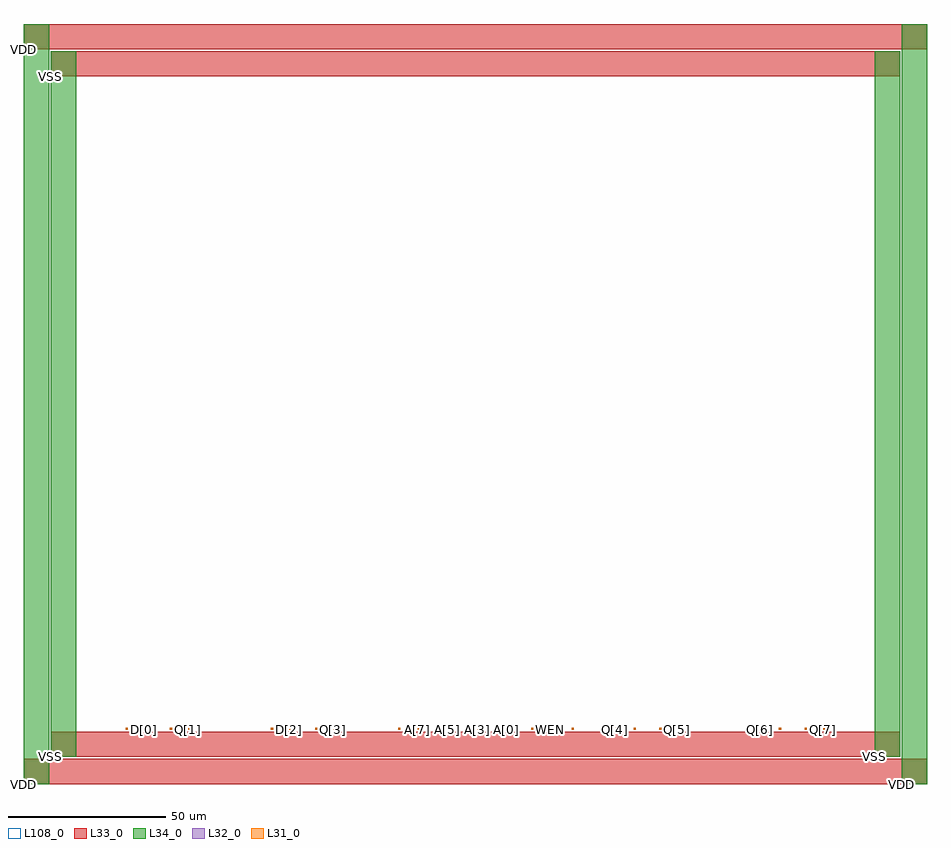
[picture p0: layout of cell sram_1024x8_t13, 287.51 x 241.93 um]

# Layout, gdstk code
import gdstk
lib = gdstk.Library(unit=1e-6, precision=1e-09)
def R(c, l, rs):  # rectangles x0, y0, x1, y1
    for r in rs: c.add(gdstk.rectangle(r[:2], r[2:], *l))
L31_0 = (31, 0)
L32_0 = (32, 0)
L33_0 = (33, 0)
L34_0 = (34, 0)
L108_0 = (108, 0)

sram_1024x8_t13 = lib.new_cell('sram_1024x8_t13')
R(sram_1024x8_t13, L31_0, [(32.47,17.2,33.13,17.86), (38.35,17.2,39.01,17.86), (46.49,17.2,47.15,17.86), (52.37,17.2,53.03,17.86), (78.65,17.2,79.31,17.86), (84.53,17.2,85.19,17.86), (92.67,17.2,93.33,17.86), (98.55,17.2,99.21,17.86), (119.095,17.2,119.755,17.86), (122.185,17.2,122.845,17.86), (125.385,17.2,126.045,17.86), (131.675,17.2,132.335,17.86), (134.765,17.2,135.425,17.86), (137.965,17.2,138.625,17.86), (144.255,17.2,144.915,17.86), (147.345,17.2,148.005,17.86), (150.545,17.2,151.205,17.86), (153.635,17.2,154.295,17.86), (161.51,17.2,162.17,17.86), (167.61,17.2,168.27,17.86), (174.36,17.2,175.02,17.86), (188.3,17.2,188.96,17.86), (194.18,17.2,194.84,17.86), (202.32,17.2,202.98,17.86), (208.2,17.2,208.86,17.86), (234.48,17.2,235.14,17.86), (240.36,17.2,241.02,17.86), (248.5,17.2,249.16,17.86), (254.38,17.2,255.04,17.86)])
R(sram_1024x8_t13, L32_0, [(32.47,17.2,33.13,17.86), (38.35,17.2,39.01,17.86), (46.49,17.2,47.15,17.86), (52.37,17.2,53.03,17.86), (78.65,17.2,79.31,17.86), (84.53,17.2,85.19,17.86), (92.67,17.2,93.33,17.86), (98.55,17.2,99.21,17.86), (119.095,17.2,119.755,17.86), (122.185,17.2,122.845,17.86), (125.385,17.2,126.045,17.86), (131.675,17.2,132.335,17.86), (134.765,17.2,135.425,17.86), (137.965,17.2,138.625,17.86), (144.255,17.2,144.915,17.86), (147.345,17.2,148.005,17.86), (150.545,17.2,151.205,17.86), (153.635,17.2,154.295,17.86), (161.51,17.2,162.17,17.86), (167.61,17.2,168.27,17.86), (174.36,17.2,175.02,17.86), (188.3,17.2,188.96,17.86), (194.18,17.2,194.84,17.86), (202.32,17.2,202.98,17.86), (208.2,17.2,208.86,17.86), (234.48,17.2,235.14,17.86), (240.36,17.2,241.02,17.86), (248.5,17.2,249.16,17.86), (254.38,17.2,255.04,17.86)])
R(sram_1024x8_t13, L33_0, [(0,0,287.51,8), (8.6,8.6,278.91,16.6), (32.47,17.2,33.13,17.86), (38.35,17.2,39.01,17.86), (46.49,17.2,47.15,17.86), (52.37,17.2,53.03,17.86), (78.65,17.2,79.31,17.86), (84.53,17.2,85.19,17.86), (92.67,17.2,93.33,17.86), (98.55,17.2,99.21,17.86), (119.095,17.2,119.755,17.86), (122.185,17.2,122.845,17.86), (125.385,17.2,126.045,17.86), (131.675,17.2,132.335,17.86), (134.765,17.2,135.425,17.86), (137.965,17.2,138.625,17.86), (144.255,17.2,144.915,17.86), (147.345,17.2,148.005,17.86), (150.545,17.2,151.205,17.86), (153.635,17.2,154.295,17.86), (161.51,17.2,162.17,17.86), (167.61,17.2,168.27,17.86), (174.36,17.2,175.02,17.86), (188.3,17.2,188.96,17.86), (194.18,17.2,194.84,17.86), (202.32,17.2,202.98,17.86), (208.2,17.2,208.86,17.86), (234.48,17.2,235.14,17.86), (240.36,17.2,241.02,17.86), (248.5,17.2,249.16,17.86), (254.38,17.2,255.04,17.86), (8.6,225.33,278.91,233.33), (0,233.93,287.51,241.93)])
R(sram_1024x8_t13, L34_0, [(0,0,8,241.93), (279.51,0,287.51,241.93), (8.6,8.6,16.6,233.33), (270.91,8.6,278.91,233.33), (32.47,17.2,33.13,17.86), (38.35,17.2,39.01,17.86), (46.49,17.2,47.15,17.86), (52.37,17.2,53.03,17.86), (78.65,17.2,79.31,17.86), (84.53,17.2,85.19,17.86), (92.67,17.2,93.33,17.86), (98.55,17.2,99.21,17.86), (119.095,17.2,119.755,17.86), (122.185,17.2,122.845,17.86), (125.385,17.2,126.045,17.86), (131.675,17.2,132.335,17.86), (134.765,17.2,135.425,17.86), (137.965,17.2,138.625,17.86), (144.255,17.2,144.915,17.86), (147.345,17.2,148.005,17.86), (150.545,17.2,151.205,17.86), (153.635,17.2,154.295,17.86), (161.51,17.2,162.17,17.86), (167.61,17.2,168.27,17.86), (174.36,17.2,175.02,17.86), (188.3,17.2,188.96,17.86), (194.18,17.2,194.84,17.86), (202.32,17.2,202.98,17.86), (208.2,17.2,208.86,17.86), (234.48,17.2,235.14,17.86), (240.36,17.2,241.02,17.86), (248.5,17.2,249.16,17.86), (254.38,17.2,255.04,17.86)])
R(sram_1024x8_t13, L108_0, [(0,0,287.51,241.93)])
sram_1024x8_t13.add(gdstk.Label('Q[3]', (98.55,17.2), layer=133, texttype=0))
sram_1024x8_t13.add(gdstk.Label('Q[3]', (98.55,17.2), layer=132, texttype=0))
sram_1024x8_t13.add(gdstk.Label('Q[3]', (98.55,17.2), layer=131, texttype=0))
sram_1024x8_t13.add(gdstk.Label('Q[4]', (188.3,17.2), layer=134, texttype=0))
sram_1024x8_t13.add(gdstk.Label('Q[4]', (188.3,17.2), layer=133, texttype=0))
sram_1024x8_t13.add(gdstk.Label('Q[4]', (188.3,17.2), layer=132, texttype=0))
sram_1024x8_t13.add(gdstk.Label('Q[4]', (188.3,17.2), layer=131, texttype=0))
sram_1024x8_t13.add(gdstk.Label('Q[5]', (208.2,17.2), layer=134, texttype=0))
sram_1024x8_t13.add(gdstk.Label('Q[5]', (208.2,17.2), layer=133, texttype=0))
sram_1024x8_t13.add(gdstk.Label('Q[5]', (208.2,17.2), layer=132, texttype=0))
sram_1024x8_t13.add(gdstk.Label('Q[5]', (208.2,17.2), layer=131, texttype=0))
sram_1024x8_t13.add(gdstk.Label('Q[6]', (234.48,17.2), layer=134, texttype=0))
sram_1024x8_t13.add(gdstk.Label('Q[6]', (234.48,17.2), layer=133, texttype=0))
sram_1024x8_t13.add(gdstk.Label('Q[6]', (234.48,17.2), layer=132, texttype=0))
sram_1024x8_t13.add(gdstk.Label('Q[6]', (234.48,17.2), layer=131, texttype=0))
sram_1024x8_t13.add(gdstk.Label('Q[7]', (254.38,17.2), layer=134, texttype=0))
sram_1024x8_t13.add(gdstk.Label('Q[7]', (254.38,17.2), layer=133, texttype=0))
sram_1024x8_t13.add(gdstk.Label('Q[7]', (254.38,17.2), layer=132, texttype=0))
sram_1024x8_t13.add(gdstk.Label('Q[7]', (254.38,17.2), layer=131, texttype=0))
sram_1024x8_t13.add(gdstk.Label('WEN', (167.61,17.2), layer=134, texttype=0))
sram_1024x8_t13.add(gdstk.Label('WEN', (167.61,17.2), layer=133, texttype=0))
sram_1024x8_t13.add(gdstk.Label('WEN', (167.61,17.2), layer=132, texttype=0))
sram_1024x8_t13.add(gdstk.Label('WEN', (167.61,17.2), layer=131, texttype=0))
sram_1024x8_t13.add(gdstk.Label('VDD', (0,0), layer=134, texttype=0))
sram_1024x8_t13.add(gdstk.Label('VDD', (279.51,0), layer=134, texttype=0))
sram_1024x8_t13.add(gdstk.Label('VDD', (0,0), layer=133, texttype=0))
sram_1024x8_t13.add(gdstk.Label('VDD', (0,233.93), layer=133, texttype=0))
sram_1024x8_t13.add(gdstk.Label('VSS', (8.6,8.6), layer=134, texttype=0))
sram_1024x8_t13.add(gdstk.Label('VSS', (270.91,8.6), layer=134, texttype=0))
sram_1024x8_t13.add(gdstk.Label('VSS', (8.6,8.6), layer=133, texttype=0))
sram_1024x8_t13.add(gdstk.Label('VSS', (8.6,225.33), layer=133, texttype=0))
sram_1024x8_t13.add(gdstk.Label('A[0]', (153.635,17.2), layer=134, texttype=0))
sram_1024x8_t13.add(gdstk.Label('A[0]', (153.635,17.2), layer=133, texttype=0))
sram_1024x8_t13.add(gdstk.Label('A[0]', (153.635,17.2), layer=132, texttype=0))
sram_1024x8_t13.add(gdstk.Label('A[0]', (153.635,17.2), layer=131, texttype=0))
sram_1024x8_t13.add(gdstk.Label('A[1]', (150.545,17.2), layer=134, texttype=0))
sram_1024x8_t13.add(gdstk.Label('A[1]', (150.545,17.2), layer=133, texttype=0))
sram_1024x8_t13.add(gdstk.Label('A[1]', (150.545,17.2), layer=132, texttype=0))
sram_1024x8_t13.add(gdstk.Label('A[1]', (150.545,17.2), layer=131, texttype=0))
sram_1024x8_t13.add(gdstk.Label('A[2]', (147.345,17.2), layer=134, texttype=0))
sram_1024x8_t13.add(gdstk.Label('A[2]', (147.345,17.2), layer=133, texttype=0))
sram_1024x8_t13.add(gdstk.Label('A[2]', (147.345,17.2), layer=132, texttype=0))
sram_1024x8_t13.add(gdstk.Label('A[2]', (147.345,17.2), layer=131, texttype=0))
sram_1024x8_t13.add(gdstk.Label('A[3]', (144.255,17.2), layer=134, texttype=0))
sram_1024x8_t13.add(gdstk.Label('A[3]', (144.255,17.2), layer=133, texttype=0))
sram_1024x8_t13.add(gdstk.Label('A[3]', (144.255,17.2), layer=132, texttype=0))
sram_1024x8_t13.add(gdstk.Label('A[3]', (144.255,17.2), layer=131, texttype=0))
sram_1024x8_t13.add(gdstk.Label('A[4]', (137.965,17.2), layer=134, texttype=0))
sram_1024x8_t13.add(gdstk.Label('A[4]', (137.965,17.2), layer=133, texttype=0))
sram_1024x8_t13.add(gdstk.Label('A[4]', (137.965,17.2), layer=132, texttype=0))
sram_1024x8_t13.add(gdstk.Label('A[4]', (137.965,17.2), layer=131, texttype=0))
sram_1024x8_t13.add(gdstk.Label('A[5]', (134.765,17.2), layer=134, texttype=0))
sram_1024x8_t13.add(gdstk.Label('A[5]', (134.765,17.2), layer=133, texttype=0))
sram_1024x8_t13.add(gdstk.Label('A[5]', (134.765,17.2), layer=132, texttype=0))
sram_1024x8_t13.add(gdstk.Label('A[5]', (134.765,17.2), layer=131, texttype=0))
sram_1024x8_t13.add(gdstk.Label('A[6]', (131.675,17.2), layer=134, texttype=0))
sram_1024x8_t13.add(gdstk.Label('A[6]', (131.675,17.2), layer=133, texttype=0))
sram_1024x8_t13.add(gdstk.Label('A[6]', (131.675,17.2), layer=132, texttype=0))
sram_1024x8_t13.add(gdstk.Label('A[6]', (131.675,17.2), layer=131, texttype=0))
sram_1024x8_t13.add(gdstk.Label('A[7]', (125.385,17.2), layer=134, texttype=0))
sram_1024x8_t13.add(gdstk.Label('A[7]', (125.385,17.2), layer=133, texttype=0))
sram_1024x8_t13.add(gdstk.Label('A[7]', (125.385,17.2), layer=132, texttype=0))
sram_1024x8_t13.add(gdstk.Label('A[7]', (125.385,17.2), layer=131, texttype=0))
sram_1024x8_t13.add(gdstk.Label('A[8]', (122.185,17.2), layer=134, texttype=0))
sram_1024x8_t13.add(gdstk.Label('A[8]', (122.185,17.2), layer=133, texttype=0))
sram_1024x8_t13.add(gdstk.Label('A[8]', (122.185,17.2), layer=132, texttype=0))
sram_1024x8_t13.add(gdstk.Label('A[8]', (122.185,17.2), layer=131, texttype=0))
sram_1024x8_t13.add(gdstk.Label('A[9]', (119.095,17.2), layer=134, texttype=0))
sram_1024x8_t13.add(gdstk.Label('A[9]', (119.095,17.2), layer=133, texttype=0))
sram_1024x8_t13.add(gdstk.Label('A[9]', (119.095,17.2), layer=132, texttype=0))
sram_1024x8_t13.add(gdstk.Label('A[9]', (119.095,17.2), layer=131, texttype=0))
sram_1024x8_t13.add(gdstk.Label('CEN', (161.51,17.2), layer=134, texttype=0))
sram_1024x8_t13.add(gdstk.Label('CEN', (161.51,17.2), layer=133, texttype=0))
sram_1024x8_t13.add(gdstk.Label('CEN', (161.51,17.2), layer=132, texttype=0))
sram_1024x8_t13.add(gdstk.Label('CEN', (161.51,17.2), layer=131, texttype=0))
sram_1024x8_t13.add(gdstk.Label('CLK', (174.36,17.2), layer=134, texttype=0))
sram_1024x8_t13.add(gdstk.Label('CLK', (174.36,17.2), layer=133, texttype=0))
sram_1024x8_t13.add(gdstk.Label('CLK', (174.36,17.2), layer=132, texttype=0))
sram_1024x8_t13.add(gdstk.Label('CLK', (174.36,17.2), layer=131, texttype=0))
sram_1024x8_t13.add(gdstk.Label('D[0]', (38.35,17.2), layer=134, texttype=0))
sram_1024x8_t13.add(gdstk.Label('D[0]', (38.35,17.2), layer=133, texttype=0))
sram_1024x8_t13.add(gdstk.Label('D[0]', (38.35,17.2), layer=132, texttype=0))
sram_1024x8_t13.add(gdstk.Label('D[0]', (38.35,17.2), layer=131, texttype=0))
sram_1024x8_t13.add(gdstk.Label('D[1]', (46.49,17.2), layer=134, texttype=0))
sram_1024x8_t13.add(gdstk.Label('D[1]', (46.49,17.2), layer=133, texttype=0))
sram_1024x8_t13.add(gdstk.Label('D[1]', (46.49,17.2), layer=132, texttype=0))
sram_1024x8_t13.add(gdstk.Label('D[1]', (46.49,17.2), layer=131, texttype=0))
sram_1024x8_t13.add(gdstk.Label('D[2]', (84.53,17.2), layer=134, texttype=0))
sram_1024x8_t13.add(gdstk.Label('D[2]', (84.53,17.2), layer=133, texttype=0))
sram_1024x8_t13.add(gdstk.Label('D[2]', (84.53,17.2), layer=132, texttype=0))
sram_1024x8_t13.add(gdstk.Label('D[2]', (84.53,17.2), layer=131, texttype=0))
sram_1024x8_t13.add(gdstk.Label('D[3]', (92.67,17.2), layer=134, texttype=0))
sram_1024x8_t13.add(gdstk.Label('D[3]', (92.67,17.2), layer=133, texttype=0))
sram_1024x8_t13.add(gdstk.Label('D[3]', (92.67,17.2), layer=132, texttype=0))
sram_1024x8_t13.add(gdstk.Label('D[3]', (92.67,17.2), layer=131, texttype=0))
sram_1024x8_t13.add(gdstk.Label('D[4]', (194.18,17.2), layer=134, texttype=0))
sram_1024x8_t13.add(gdstk.Label('D[4]', (194.18,17.2), layer=133, texttype=0))
sram_1024x8_t13.add(gdstk.Label('D[4]', (194.18,17.2), layer=132, texttype=0))
sram_1024x8_t13.add(gdstk.Label('D[4]', (194.18,17.2), layer=131, texttype=0))
sram_1024x8_t13.add(gdstk.Label('D[5]', (202.32,17.2), layer=134, texttype=0))
sram_1024x8_t13.add(gdstk.Label('D[5]', (202.32,17.2), layer=133, texttype=0))
sram_1024x8_t13.add(gdstk.Label('D[5]', (202.32,17.2), layer=132, texttype=0))
sram_1024x8_t13.add(gdstk.Label('D[5]', (202.32,17.2), layer=131, texttype=0))
sram_1024x8_t13.add(gdstk.Label('D[6]', (240.36,17.2), layer=134, texttype=0))
sram_1024x8_t13.add(gdstk.Label('D[6]', (240.36,17.2), layer=133, texttype=0))
sram_1024x8_t13.add(gdstk.Label('D[6]', (240.36,17.2), layer=132, texttype=0))
sram_1024x8_t13.add(gdstk.Label('D[6]', (240.36,17.2), layer=131, texttype=0))
sram_1024x8_t13.add(gdstk.Label('D[7]', (248.5,17.2), layer=134, texttype=0))
sram_1024x8_t13.add(gdstk.Label('D[7]', (248.5,17.2), layer=133, texttype=0))
sram_1024x8_t13.add(gdstk.Label('D[7]', (248.5,17.2), layer=132, texttype=0))
sram_1024x8_t13.add(gdstk.Label('D[7]', (248.5,17.2), layer=131, texttype=0))
sram_1024x8_t13.add(gdstk.Label('Q[0]', (32.47,17.2), layer=134, texttype=0))
sram_1024x8_t13.add(gdstk.Label('Q[0]', (32.47,17.2), layer=133, texttype=0))
sram_1024x8_t13.add(gdstk.Label('Q[0]', (32.47,17.2), layer=132, texttype=0))
sram_1024x8_t13.add(gdstk.Label('Q[0]', (32.47,17.2), layer=131, texttype=0))
sram_1024x8_t13.add(gdstk.Label('Q[1]', (52.37,17.2), layer=134, texttype=0))
sram_1024x8_t13.add(gdstk.Label('Q[1]', (52.37,17.2), layer=133, texttype=0))
sram_1024x8_t13.add(gdstk.Label('Q[1]', (52.37,17.2), layer=132, texttype=0))
sram_1024x8_t13.add(gdstk.Label('Q[1]', (52.37,17.2), layer=131, texttype=0))
sram_1024x8_t13.add(gdstk.Label('Q[2]', (78.65,17.2), layer=134, texttype=0))
sram_1024x8_t13.add(gdstk.Label('Q[2]', (78.65,17.2), layer=133, texttype=0))
sram_1024x8_t13.add(gdstk.Label('Q[2]', (78.65,17.2), layer=132, texttype=0))
sram_1024x8_t13.add(gdstk.Label('Q[2]', (78.65,17.2), layer=131, texttype=0))
sram_1024x8_t13.add(gdstk.Label('Q[3]', (98.55,17.2), layer=134, texttype=0))

lib.write_gds('sram_1024x8_t13.gds')
